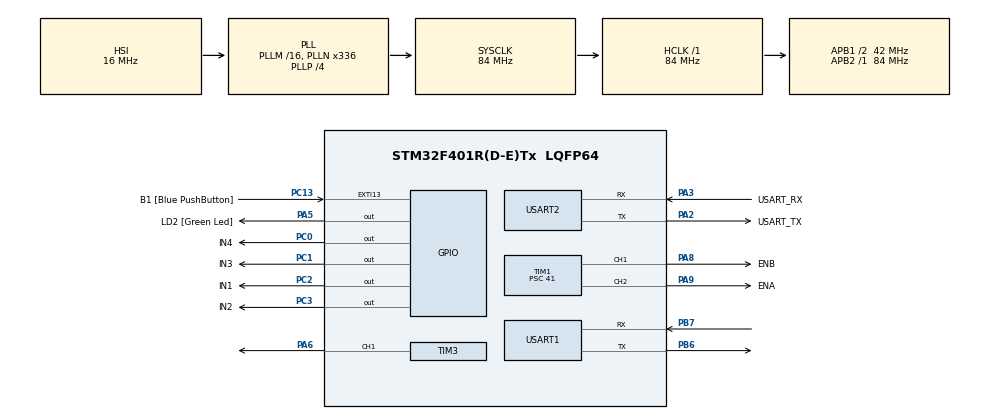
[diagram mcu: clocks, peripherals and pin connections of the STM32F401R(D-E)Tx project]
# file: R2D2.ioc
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Mcu.Family=STM32F4
Mcu.Name=STM32F401R(D-E)Tx
Mcu.Package=LQFP64
NVIC.EXTI15_10_IRQn=true\:0\:0\:false\:false\:true\:true\:true\:true
NVIC.PriorityGroup=NVIC_PRIORITYGROUP_4
NVIC.USART1_IRQn=true\:0\:0\:false\:false\:true\:true\:true\:true
NVIC.USART2_IRQn=true\:0\:0\:false\:false\:true\:true\:true\:true
PA13.GPIO_Label=TMS
PA13.Mode=Trace_Asynchronous_SW
PA13.Signal=SYS_JTMS-SWDIO
PA14.GPIO_Label=TCK
PA14.Mode=Trace_Asynchronous_SW
PA14.Signal=SYS_JTCK-SWCLK
PA2.GPIO_Label=USART_TX
PA2.GPIO_Mode=GPIO_MODE_AF_PP
PA2.GPIO_PuPd=GPIO_NOPULL
PA2.GPIO_Speed=GPIO_SPEED_FREQ_LOW
PA2.Mode=Asynchronous
PA2.Signal=USART2_TX
PA3.GPIO_Label=USART_RX
PA3.GPIO_Mode=GPIO_MODE_AF_PP
PA3.GPIO_PuPd=GPIO_NOPULL
PA3.GPIO_Speed=GPIO_SPEED_FREQ_LOW
PA3.Mode=Asynchronous
PA3.Signal=USART2_RX
PA5.GPIO_Label=LD2 [Green Led]
PA5.GPIO_PuPd=GPIO_NOPULL
PA5.GPIO_Speed=GPIO_SPEED_FREQ_LOW
PA5.Signal=GPIO_Output
PA6.Signal=S_TIM3_CH1
PA8.GPIO_Label=ENB
PA8.Signal=S_TIM1_CH1
PA9.GPIO_Label=ENA
PA9.Signal=S_TIM1_CH2
PB3.GPIO_Label=SWO
PB3.Mode=Trace_Asynchronous_SW
PB3.Signal=SYS_JTDO-SWO
PB6.Mode=Asynchronous
PB6.Signal=USART1_TX
PB7.Mode=Asynchronous
PB7.Signal=USART1_RX
PC0.GPIO_Label=IN4
PC0.Signal=GPIO_Output
PC1.GPIO_Label=IN3
PC1.Signal=GPIO_Output
PC13-ANTI_TAMP.GPIO_Label=B1 [Blue PushButton]
PC13-ANTI_TAMP.GPIO_ModeDefaultEXTI=GPIO_MODE_IT_FALLING
PC13-ANTI_TAMP.GPIO_PuPd=GPIO_NOPULL
PC13-ANTI_TAMP.Signal=GPXTI13
PC14-OSC32_IN.Mode=LSE-External-Oscillator
PC14-OSC32_IN.Signal=RCC_OSC32_IN
PC15-OSC32_OUT.Mode=LSE-External-Oscillator
PC15-OSC32_OUT.Signal=RCC_OSC32_OUT
PC2.GPIO_Label=IN1
PC2.Signal=GPIO_Output
PC3.GPIO_Label=IN2
PC3.Signal=GPIO_Output
PH0\ -\ OSC_IN.Mode=HSE-External-Clock-Source
PH0\ -\ OSC_IN.Signal=RCC_OSC_IN
PH1\ -\ OSC_OUT.Mode=HSE-External-Clock-Source
PH1\ -\ OSC_OUT.Signal=RCC_OSC_OUT
ProjectManager.HeapSize=0x200
ProjectManager.StackSize=0x400
ProjectManager.TargetToolchain=STM32CubeIDE
RCC.48MHZClocksFreq_Value=48000000
RCC.AHBFreq_Value=84000000
RCC.APB1CLKDivider=RCC_HCLK_DIV2
RCC.APB1Freq_Value=42000000
RCC.APB1TimFreq_Value=84000000
RCC.APB2Freq_Value=84000000
RCC.APB2TimFreq_Value=84000000
RCC.CortexFreq_Value=84000000
RCC.HCLKFreq_Value=84000000
RCC.HSE_VALUE=8000000
RCC.HSI_VALUE=16000000
RCC.PLLN=336
RCC.PLLP=RCC_PLLP_DIV4
RCC.PLLQ=7
RCC.SYSCLKFreq_VALUE=84000000
RCC.SYSCLKSource=RCC_SYSCLKSOURCE_PLLCLK
RCC.VCOOutputFreq_Value=336000000
SH.S_TIM1_CH1.0=TIM1_CH1,PWM Generation1 CH1
SH.S_TIM1_CH2.0=TIM1_CH2,PWM Generation2 CH2
SH.S_TIM3_CH1.0=TIM3_CH1,PWM Generation1 CH1
TIM1.Channel-PWM\ Generation1\ CH1=TIM_CHANNEL_1
TIM1.Channel-PWM\ Generation2\ CH2=TIM_CHANNEL_2
TIM1.Period=999
TIM1.Prescaler=41
TIM3.Channel-PWM\ Generation1\ CH1=TIM_CHANNEL_1
TIM3.Period=999
TIM3.Prescaler=83
USART1.VirtualMode=VM_ASYNC
USART2.VirtualMode=VM_ASYNC
VP_TIM1_VS_ClockSourceINT.Mode=Internal
VP_TIM3_VS_ClockSourceINT.Mode=Internal
board=NUCLEO-F401RE

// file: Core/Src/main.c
/* USER CODE BEGIN Header */
/**
  ******************************************************************************
  * @file           : main.c
  * @brief          : Main program body
  ******************************************************************************
  * @attention
  *
  * Copyright (c) 2025 STMicroelectronics.
  * All rights reserved.
  *
  * This software is licensed under terms that can be found in the LICENSE file
  * in the root directory of this software component.
  * If no LICENSE file comes with this software, it is provided AS-IS.
  *
  ******************************************************************************
  */
/* USER CODE END Header */
#include "main.h"

/* USER CODE BEGIN Includes */
#include "motor.h"
/* USER CODE END Includes */

/* USER CODE BEGIN PD */
#define Debounce_Delay 200

/* USER CODE END PD */

TIM_HandleTypeDef htim1;
TIM_HandleTypeDef htim3;

UART_HandleTypeDef huart1;
UART_HandleTypeDef huart2;

/* USER CODE BEGIN PV */
uint8_t flag = 0;
uint32_t last_tick;
uint32_t curr_tick;
uint8_t buffer[8];
/* USER CODE END PV */

void SystemClock_Config(void);
static void MX_GPIO_Init(void);
static void MX_USART2_UART_Init(void);
static void MX_TIM1_Init(void);
static void MX_USART1_UART_Init(void);
static void MX_TIM3_Init(void);
/* USER CODE BEGIN PFP */

void Start_PWM(void){

	IN_Forward();
	uint32_t pwm_val = 0.9* (htim1.Init.Period + 1);
	Set_PWM_EN(pwm_val);
}

void Stop_PWM(void){

	uint32_t pwm_val = 0* (htim1.Init.Period + 1);
	Set_PWM_EN(pwm_val);
}

//fix all these 2 into motor.c
void Turn_Right(void){

	IN_Right();
	uint32_t pwm_val = 0.85* (htim1.Init.Period + 1);
	Set_PWM_EN(pwm_val);
}

void Turn_Left(void){

	IN_Left();
	uint32_t pwm_val = 0.9* (htim1.Init.Period + 1);
	Set_PWM_EN(pwm_val);
}

// keep as is
void StartBuzzer(void){
	HAL_TIM_PWM_Start(&htim3, TIM_CHANNEL_1);
	__HAL_TIM_SET_COMPARE(&htim3, TIM_CHANNEL_1, 0.5 * (htim3.Init.Period + 1)); ////50% duty cycle
}

void HAL_GPIO_EXTI_Callback(uint16_t GPIO_Pin){
	uint8_t response[] = "it worked!\r\n";
	 HAL_UART_Transmit(&huart1, response, sizeof(response) -1, 100);
	if(GPIO_Pin == B1_Pin)
	{
		curr_tick = HAL_GetTick();
		if((curr_tick - last_tick) > Debounce_Delay)
		{
			last_tick = curr_tick;
			//Start_PWM();
			__HAL_TIM_SET_COMPARE(&htim3, TIM_CHANNEL_1, 500);
		}
	}
}

void HAL_UART_RxCpltCallback(UART_HandleTypeDef *huart){
    HAL_GPIO_TogglePin(LD2_GPIO_Port, LD2_Pin);
    char received_data = buffer[0];  // Assuming you've received 1 byte

    switch(received_data)
	{
    case 'w':
    	Start_PWM();
        uint8_t response[] = "vroom!\r\n";
        HAL_UART_Transmit(&huart1, response, sizeof(response) - 1, 100);
        break;

    case 's':
    	Stop_PWM();
        uint8_t response2[] = "Stopped\r\n";
        HAL_UART_Transmit(&huart1, response2, sizeof(response) - 1, 100);
        break;

    case 'd':
    	Turn_Right();
        uint8_t response3[] = "Turning right!\r\n";
        HAL_UART_Transmit(&huart1, response3, sizeof(response) - 1, 100);
        break;

    case 'a':
    	Turn_Left();
        uint8_t response4[] = "Turning left!\r\n";
        HAL_UART_Transmit(&huart1, response4, sizeof(response) - 1, 100);
        break;
	}

    // Re-enable UART reception to keep listening for the next byte
    HAL_UART_Receive_IT(&huart1, buffer, 1);  // Receive the next byte
}

/* USER CODE END PFP */

int main(void)
{

  /* MCU Configuration--------------------------------------------------------*/

  /* Reset of all peripherals, Initializes the Flash interface and the Systick. */
  HAL_Init();

  /* Configure the system clock */
  SystemClock_Config();

  /* Initialize all configured peripherals */
  MX_GPIO_Init();
  MX_USART2_UART_Init();
  MX_TIM1_Init();
  MX_USART1_UART_Init();
  MX_TIM3_Init();
  /* USER CODE BEGIN 2 */
  HAL_UART_Receive_IT(&huart1,buffer, 1);
  /* USER CODE END 2 */

  /* Infinite loop */
  while (1)
  {

  }
}

void SystemClock_Config(void)
{
  RCC_OscInitTypeDef RCC_OscInitStruct = {0};
  RCC_ClkInitTypeDef RCC_ClkInitStruct = {0};

  /** Configure the main internal regulator output voltage
  */
  __HAL_RCC_PWR_CLK_ENABLE();
  __HAL_PWR_VOLTAGESCALING_CONFIG(PWR_REGULATOR_VOLTAGE_SCALE2);

  /** Initializes the RCC Oscillators according to the specified parameters
  * in the RCC_OscInitTypeDef structure.
  */
  RCC_OscInitStruct.OscillatorType = RCC_OSCILLATORTYPE_HSI;
  RCC_OscInitStruct.HSIState = RCC_HSI_ON;
  RCC_OscInitStruct.HSICalibrationValue = RCC_HSICALIBRATION_DEFAULT;
  RCC_OscInitStruct.PLL.PLLState = RCC_PLL_ON;
  RCC_OscInitStruct.PLL.PLLSource = RCC_PLLSOURCE_HSI;
  RCC_OscInitStruct.PLL.PLLM = 16;
  RCC_OscInitStruct.PLL.PLLN = 336;
  RCC_OscInitStruct.PLL.PLLP = RCC_PLLP_DIV4;
  RCC_OscInitStruct.PLL.PLLQ = 7;
  if (HAL_RCC_OscConfig(&RCC_OscInitStruct) != HAL_OK)
  {
    Error_Handler();
  }

  /** Initializes the CPU, AHB and APB buses clocks
  */
  RCC_ClkInitStruct.ClockType = RCC_CLOCKTYPE_HCLK|RCC_CLOCKTYPE_SYSCLK
                              |RCC_CLOCKTYPE_PCLK1|RCC_CLOCKTYPE_PCLK2;
  RCC_ClkInitStruct.SYSCLKSource = RCC_SYSCLKSOURCE_PLLCLK;
  RCC_ClkInitStruct.AHBCLKDivider = RCC_SYSCLK_DIV1;
  RCC_ClkInitStruct.APB1CLKDivider = RCC_HCLK_DIV2;
  RCC_ClkInitStruct.APB2CLKDivider = RCC_HCLK_DIV1;

  if (HAL_RCC_ClockConfig(&RCC_ClkInitStruct, FLASH_LATENCY_2) != HAL_OK)
  {
    Error_Handler();
  }
}

static void MX_TIM1_Init(void)
{

  TIM_ClockConfigTypeDef sClockSourceConfig = {0};
  TIM_MasterConfigTypeDef sMasterConfig = {0};
  TIM_OC_InitTypeDef sConfigOC = {0};
  TIM_BreakDeadTimeConfigTypeDef sBreakDeadTimeConfig = {0};

  htim1.Instance = TIM1;
  htim1.Init.Prescaler = 41;
  htim1.Init.CounterMode = TIM_COUNTERMODE_UP;
  htim1.Init.Period = 999;
  htim1.Init.ClockDivision = TIM_CLOCKDIVISION_DIV1;
  htim1.Init.RepetitionCounter = 0;
  htim1.Init.AutoReloadPreload = TIM_AUTORELOAD_PRELOAD_DISABLE;
  if (HAL_TIM_Base_Init(&htim1) != HAL_OK)
  {
    Error_Handler();
  }
  sClockSourceConfig.ClockSource = TIM_CLOCKSOURCE_INTERNAL;
  if (HAL_TIM_ConfigClockSource(&htim1, &sClockSourceConfig) != HAL_OK)
  {
    Error_Handler();
  }
  if (HAL_TIM_PWM_Init(&htim1) != HAL_OK)
  {
    Error_Handler();
  }
  sMasterConfig.MasterOutputTrigger = TIM_TRGO_RESET;
  sMasterConfig.MasterSlaveMode = TIM_MASTERSLAVEMODE_DISABLE;
  if (HAL_TIMEx_MasterConfigSynchronization(&htim1, &sMasterConfig) != HAL_OK)
  {
    Error_Handler();
  }
  sConfigOC.OCMode = TIM_OCMODE_PWM1;
  sConfigOC.Pulse = 0;
  sConfigOC.OCPolarity = TIM_OCPOLARITY_HIGH;
  sConfigOC.OCNPolarity = TIM_OCNPOLARITY_HIGH;
  sConfigOC.OCFastMode = TIM_OCFAST_DISABLE;
  sConfigOC.OCIdleState = TIM_OCIDLESTATE_RESET;
  sConfigOC.OCNIdleState = TIM_OCNIDLESTATE_RESET;
  if (HAL_TIM_PWM_ConfigChannel(&htim1, &sConfigOC, TIM_CHANNEL_1) != HAL_OK)
  {
    Error_Handler();
  }
  if (HAL_TIM_PWM_ConfigChannel(&htim1, &sConfigOC, TIM_CHANNEL_2) != HAL_OK)
  {
    Error_Handler();
  }
  sBreakDeadTimeConfig.OffStateRunMode = TIM_OSSR_DISABLE;
  sBreakDeadTimeConfig.OffStateIDLEMode = TIM_OSSI_DISABLE;
  sBreakDeadTimeConfig.LockLevel = TIM_LOCKLEVEL_OFF;
  sBreakDeadTimeConfig.DeadTime = 0;
  sBreakDeadTimeConfig.BreakState = TIM_BREAK_DISABLE;
  sBreakDeadTimeConfig.BreakPolarity = TIM_BREAKPOLARITY_HIGH;
  sBreakDeadTimeConfig.AutomaticOutput = TIM_AUTOMATICOUTPUT_DISABLE;
  if (HAL_TIMEx_ConfigBreakDeadTime(&htim1, &sBreakDeadTimeConfig) != HAL_OK)
  {
    Error_Handler();
  }
  HAL_TIM_MspPostInit(&htim1);

}

static void MX_TIM3_Init(void)
{

  TIM_ClockConfigTypeDef sClockSourceConfig = {0};
  TIM_MasterConfigTypeDef sMasterConfig = {0};
  TIM_OC_InitTypeDef sConfigOC = {0};

  htim3.Instance = TIM3;
  htim3.Init.Prescaler = 83;
  htim3.Init.CounterMode = TIM_COUNTERMODE_UP;
  htim3.Init.Period = 999;
  htim3.Init.ClockDivision = TIM_CLOCKDIVISION_DIV1;
  htim3.Init.AutoReloadPreload = TIM_AUTORELOAD_PRELOAD_DISABLE;
  if (HAL_TIM_Base_Init(&htim3) != HAL_OK)
  {
    Error_Handler();
  }
  sClockSourceConfig.ClockSource = TIM_CLOCKSOURCE_INTERNAL;
  if (HAL_TIM_ConfigClockSource(&htim3, &sClockSourceConfig) != HAL_OK)
  {
    Error_Handler();
  }
  if (HAL_TIM_PWM_Init(&htim3) != HAL_OK)
  {
    Error_Handler();
  }
  sMasterConfig.MasterOutputTrigger = TIM_TRGO_RESET;
  sMasterConfig.MasterSlaveMode = TIM_MASTERSLAVEMODE_DISABLE;
  if (HAL_TIMEx_MasterConfigSynchronization(&htim3, &sMasterConfig) != HAL_OK)
  {
    Error_Handler();
  }
  sConfigOC.OCMode = TIM_OCMODE_PWM1;
  sConfigOC.Pulse = 0;
  sConfigOC.OCPolarity = TIM_OCPOLARITY_HIGH;
  sConfigOC.OCFastMode = TIM_OCFAST_DISABLE;
  if (HAL_TIM_PWM_ConfigChannel(&htim3, &sConfigOC, TIM_CHANNEL_1) != HAL_OK)
  {
    Error_Handler();
  }
  HAL_TIM_MspPostInit(&htim3);

}

static void MX_USART1_UART_Init(void)
{

  huart1.Instance = USART1;
  huart1.Init.BaudRate = 115200;
  huart1.Init.WordLength = UART_WORDLENGTH_8B;
  huart1.Init.StopBits = UART_STOPBITS_1;
  huart1.Init.Parity = UART_PARITY_NONE;
  huart1.Init.Mode = UART_MODE_TX_RX;
  huart1.Init.HwFlowCtl = UART_HWCONTROL_NONE;
  huart1.Init.OverSampling = UART_OVERSAMPLING_16;
  if (HAL_UART_Init(&huart1) != HAL_OK)
  {
    Error_Handler();
  }

}

static void MX_USART2_UART_Init(void)
{

  huart2.Instance = USART2;
  huart2.Init.BaudRate = 115200;
  huart2.Init.WordLength = UART_WORDLENGTH_8B;
  huart2.Init.StopBits = UART_STOPBITS_1;
  huart2.Init.Parity = UART_PARITY_NONE;
  huart2.Init.Mode = UART_MODE_TX_RX;
  huart2.Init.HwFlowCtl = UART_HWCONTROL_NONE;
  huart2.Init.OverSampling = UART_OVERSAMPLING_16;
  if (HAL_UART_Init(&huart2) != HAL_OK)
  {
    Error_Handler();
  }

}

static void MX_GPIO_Init(void)
{
  GPIO_InitTypeDef GPIO_InitStruct = {0};

  /* GPIO Ports Clock Enable */
  __HAL_RCC_GPIOC_CLK_ENABLE();
  __HAL_RCC_GPIOH_CLK_ENABLE();
  __HAL_RCC_GPIOA_CLK_ENABLE();
  __HAL_RCC_GPIOB_CLK_ENABLE();

  /*Configure GPIO pin Output Level */
  HAL_GPIO_WritePin(GPIOC, IN4_Pin|IN3_Pin|IN1_Pin|IN2_Pin, GPIO_PIN_RESET);

  /*Configure GPIO pin Output Level */
  HAL_GPIO_WritePin(LD2_GPIO_Port, LD2_Pin, GPIO_PIN_RESET);

  /*Configure GPIO pin : B1_Pin */
  GPIO_InitStruct.Pin = B1_Pin;
  GPIO_InitStruct.Mode = GPIO_MODE_IT_FALLING;
  GPIO_InitStruct.Pull = GPIO_NOPULL;
  HAL_GPIO_Init(B1_GPIO_Port, &GPIO_InitStruct);

  /*Configure GPIO pins : IN4_Pin IN3_Pin IN1_Pin IN2_Pin */
  GPIO_InitStruct.Pin = IN4_Pin|IN3_Pin|IN1_Pin|IN2_Pin;
  GPIO_InitStruct.Mode = GPIO_MODE_OUTPUT_PP;
  GPIO_InitStruct.Pull = GPIO_NOPULL;
  GPIO_InitStruct.Speed = GPIO_SPEED_FREQ_LOW;
  HAL_GPIO_Init(GPIOC, &GPIO_InitStruct);

  /*Configure GPIO pin : LD2_Pin */
  GPIO_InitStruct.Pin = LD2_Pin;
  GPIO_InitStruct.Mode = GPIO_MODE_OUTPUT_PP;
  GPIO_InitStruct.Pull = GPIO_NOPULL;
  GPIO_InitStruct.Speed = GPIO_SPEED_FREQ_LOW;
  HAL_GPIO_Init(LD2_GPIO_Port, &GPIO_InitStruct);

  /* EXTI interrupt init*/
  HAL_NVIC_SetPriority(EXTI15_10_IRQn, 0, 0);
  HAL_NVIC_EnableIRQ(EXTI15_10_IRQn);

}

void Error_Handler(void)
{
  __disable_irq();
  while (1)
  {
  }
}
